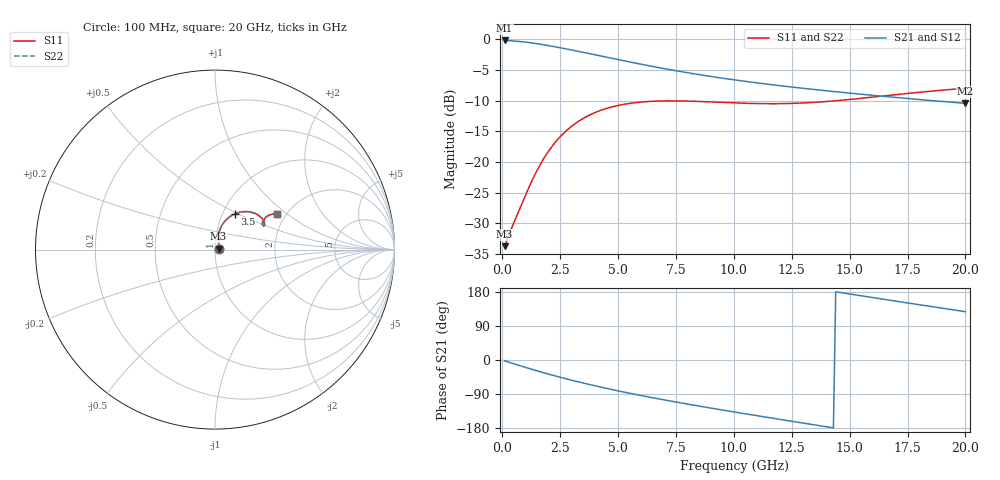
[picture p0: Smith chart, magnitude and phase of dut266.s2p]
! Touchstone file exported from HFSS 2024.1.0
!  File:  C:/UserFiles/LocalFiles/RDL_TSV_Batchsim/temp_RDL_TSV_266_1779460701.aedt
!  Generated:  10:56:17 PM May 22, 2026
!  Design:  RDL_TSV
!  Project:  temp_RDL_TSV_266_1779460701
!  Setup:  Setup1
!  Solution:  Sweep
! Variables:
!  dtsv = 10.75um
!  hbump = 3um
!  htsv = 55.15um
!  ldown = 415.57um
!  lrdl = 588.7um
!  p = 40
!  p1 = 54.92um
!  rhole = 10um
!  subl = 3601.51um
!  t = 450um
!  tdown = 2.52um
!  trdl = 3.39um
!  viad = 10um
!  wdown = 29.94um
!  wrdl = 17.99um
!  xbump = 18um
# GHz S MA R 50.000000
! Terminal data exported
! Port[1] = TM1_1_T1
! Port[2] = TM1_4_T1
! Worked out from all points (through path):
!   200 points, 100 MHz to 20 GHz, reference 50 ohm
!   highest |S21| = -0.18 dB at 100 MHz (marker M1); lowest = -10.4 dB at 20 GHz (marker M2)
!   group delay of S21, straight-line fit = 30.5 ps
!   lowest |S11| = -33.7 dB at 100 MHz (marker M3), VSWR 1.04, Z = 52 + j0.563 ohm
!   |S11| at or under -10 dB: start of sweep to 14.42 GHz
!   |S22| runs from -33.7 to -8.0 dB; largest |S21 - S12| = 1e-14
!   S11 on the Smith chart (normalised r, x): 100 MHz: 1.04, +0.01; 3.5 GHz: 1.14, +0.48; 20 GHz: 1.80, +0.85
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0.1  0.02062 15.2  0.9797 -2.0  0.9797 -2.0  0.02062 15.2
! Gamma 0 0 0 0
! Port Impedance 50 0 50 0
0.5  0.03206 49.0  0.9702 -10.0  0.9702 -10.0  0.03207 49.0
0.9  0.04838 66.5  0.9545 -17.6  0.9545 -17.6  0.04839 66.5
1.4  0.07843 75.8  0.9279 -26.8  0.9279 -26.8  0.0784 75.7
1.8  0.1075 76.6  0.9028 -33.9  0.9028 -33.9  0.1075 76.5
2.2  0.1382 74.4  0.8757 -40.6  0.8757 -40.6  0.138 74.3
2.6  0.1682 70.8  0.8476 -47.1  0.8476 -47.1  0.168 70.7
3  0.1962 66.6  0.8192 -53.4  0.8192 -53.4  0.1959 66.5
3.5  0.2271 61.2  0.7838 -60.9  0.7838 -60.9  0.2267 61.0
4.2  0.2618 53.8  0.7357 -70.8  0.7357 -70.8  0.2611 53.7
5.1  0.2918 45.4  0.6782 -82.7  0.6782 -82.7  0.2909 45.3
5.9  0.3071 39.3  0.6321 -92.6  0.6321 -92.6  0.3059 39.2
6.8  0.3145 33.9  0.5863 -103.1  0.5863 -103.1  0.3131 33.8
7.6  0.3152 30.3  0.5508 -112.0  0.5508 -112.0  0.3136 30.2
8.4  0.3124 27.8  0.5196 -120.6  0.5196 -120.6  0.3107 27.7
10.1  0.3031 25.8  0.4653 -138.0  0.4653 -138.0  0.3011 25.8
11.7  0.2989 26.9  0.4255 -153.9  0.4255 -153.9  0.2969 27.0
13.4  0.306 29.6  0.3914 -170.4  0.3914 -170.4  0.3041 29.8
15  0.3236 31.7  0.3646 174.2  0.3646 174.2  0.322 32.0
16.7  0.3495 32.5  0.34 158.1  0.34 158.1  0.3482 32.8
18.3  0.3751 31.7  0.3198 143.1  0.3198 143.1  0.3741 32.1
20  0.3987 29.9  0.3011 127.5  0.3011 127.5  0.398 30.2
